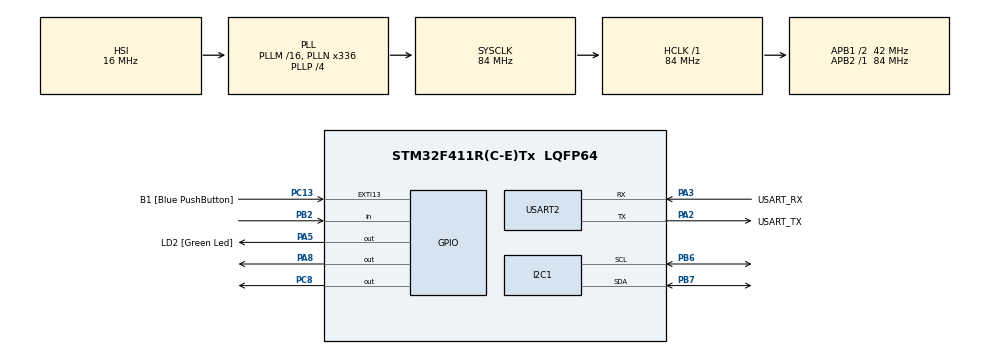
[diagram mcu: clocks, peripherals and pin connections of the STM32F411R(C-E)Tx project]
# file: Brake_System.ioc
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I2C1.I2C_Mode=I2C_Fast
Mcu.Family=STM32F4
Mcu.Name=STM32F411R(C-E)Tx
Mcu.Package=LQFP64
NVIC.PriorityGroup=NVIC_PRIORITYGROUP_0
PA13.GPIO_Label=TMS
PA13.Mode=Serial_Wire
PA13.Signal=SYS_JTMS-SWDIO
PA14.GPIO_Label=TCK
PA14.Mode=Serial_Wire
PA14.Signal=SYS_JTCK-SWCLK
PA2.GPIO_Label=USART_TX
PA2.Mode=Asynchronous
PA2.Signal=USART2_TX
PA3.GPIO_Label=USART_RX
PA3.Mode=Asynchronous
PA3.Signal=USART2_RX
PA5.GPIO_Label=LD2 [Green Led]
PA5.Signal=GPIO_Output
PA8.Signal=GPIO_Output
PB2.Signal=GPIO_Input
PB3.GPIO_Label=SWO
PB3.Signal=SYS_JTDO-SWO
PB6.Mode=I2C
PB6.Signal=I2C1_SCL
PB7.Mode=I2C
PB7.Signal=I2C1_SDA
PC13-ANTI_TAMP.GPIO_Label=B1 [Blue PushButton]
PC13-ANTI_TAMP.GPIO_ModeDefaultEXTI=GPIO_MODE_IT_FALLING
PC13-ANTI_TAMP.Signal=GPXTI13
PC14-OSC32_IN.Mode=LSE-External-Oscillator
PC14-OSC32_IN.Signal=RCC_OSC32_IN
PC15-OSC32_OUT.Mode=LSE-External-Oscillator
PC15-OSC32_OUT.Signal=RCC_OSC32_OUT
PC8.Signal=GPIO_Output
PH0\ -\ OSC_IN.Mode=HSE-External-Clock-Source
PH0\ -\ OSC_IN.Signal=RCC_OSC_IN
PH1\ -\ OSC_OUT.Mode=HSE-External-Clock-Source
PH1\ -\ OSC_OUT.Signal=RCC_OSC_OUT
ProjectManager.HeapSize=0x200
ProjectManager.StackSize=0x400
ProjectManager.TargetToolchain=CMake
RCC.48MHZClocksFreq_Value=84000000
RCC.AHBFreq_Value=84000000
RCC.APB1CLKDivider=RCC_HCLK_DIV2
RCC.APB1Freq_Value=42000000
RCC.APB1TimFreq_Value=84000000
RCC.APB2Freq_Value=84000000
RCC.APB2TimFreq_Value=84000000
RCC.CortexFreq_Value=84000000
RCC.FLatency-AdvancedSettings=FLASH_LATENCY_2
RCC.HCLKFreq_Value=84000000
RCC.HSE_VALUE=8000000
RCC.HSI_VALUE=16000000
RCC.PLLN=336
RCC.PLLP=RCC_PLLP_DIV4
RCC.SYSCLKFreq_VALUE=84000000
RCC.SYSCLKSource=RCC_SYSCLKSOURCE_PLLCLK
RCC.VCOOutputFreq_Value=336000000
TIM1.AutoReloadPreload=TIM_AUTORELOAD_PRELOAD_ENABLE
TIM1.Prescaler=83
USART2.VirtualMode=VM_ASYNC
VP_TIM1_VS_ClockSourceINT.Mode=Internal
board=NUCLEO-F411RE

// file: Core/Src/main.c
/* USER CODE BEGIN Header */
/**
  ******************************************************************************
  * @file           : main.c
  * @brief          : Main program body
  ******************************************************************************
  * @attention
  *
  * Copyright (c) 2026 STMicroelectronics.
  * All rights reserved.
  *
  * This software is licensed under terms that can be found in the LICENSE file
  * in the root directory of this software component.
  * If no LICENSE file comes with this software, it is provided AS-IS.
  *
  ******************************************************************************
  */
/* USER CODE END Header */
#include "main.h"

/* USER CODE BEGIN Includes */
#include <stdio.h>
#include "ssd1306.h"
#include "ssd1306_fonts.h"
#include <stdio.h>
/* USER CODE END Includes */

I2C_HandleTypeDef hi2c1;

TIM_HandleTypeDef htim1;

UART_HandleTypeDef huart2;

/* USER CODE BEGIN PV */
char msg[50];
/* USER CODE END PV */

void SystemClock_Config(void);
static void MX_GPIO_Init(void);
static void MX_I2C1_Init(void);
static void MX_USART2_UART_Init(void);
static void MX_TIM1_Init(void);
/* USER CODE BEGIN PFP */
void delay_us(uint16_t us) {
    __HAL_TIM_SET_COUNTER(&htim1, 0);
    while(__HAL_TIM_GET_COUNTER(&htim1) < us);
}
/* USER CODE END PFP */

/* USER CODE BEGIN 0 */
int lux = 0;
/* USER CODE END 0 */

int main(void)
{

  /* MCU Configuration--------------------------------------------------------*/

  /* Reset of all peripherals, Initializes the Flash interface and the Systick. */
  HAL_Init();

  /* Configure the system clock */
  SystemClock_Config();

  /* Initialize all configured peripherals */
  MX_GPIO_Init();
  MX_I2C1_Init();
  MX_USART2_UART_Init();
  MX_TIM1_Init();
  /* USER CODE BEGIN 2 */
  ssd1306_Init();
  HAL_TIM_Base_Start(&htim1);
  /* USER CODE END 2 */

  /* Infinite loop */
  while (1)
  {

    /* USER CODE BEGIN 3 */
   ssd1306_Fill(Black);

    HAL_GPIO_WritePin(GPIOA, GPIO_PIN_8, 0);
    delay_us(5);
    HAL_GPIO_WritePin(GPIOA, GPIO_PIN_8, 1);
    delay_us(10);
    HAL_GPIO_WritePin(GPIOA, GPIO_PIN_8, 0);
    delay_us(5);

    uint32_t timeout1 = 10000;
    while(HAL_GPIO_ReadPin(GPIOB, GPIO_PIN_2) == 0 && timeout1 > 0) timeout1--;

    uint32_t timeout2 = 5000000;
    while(HAL_GPIO_ReadPin(GPIOB, GPIO_PIN_2) == 1 && timeout2 > 0) timeout2--;

    // Calculate elapsed counts and convert to distance
    uint32_t elapsed = 5000000 - timeout2;
    // Each count = 1us (timer runs at 1MHz)
    // Distance = (time_us * speed_of_sound) / 2
    // Speed of sound = 0.0343 cm/us
    // So: distance_cm = elapsed * 0.01715
    uint32_t distance_cm = (elapsed * 1715) / 100000;
    if(distance_cm <= 10) {
      HAL_GPIO_WritePin(GPIOC, GPIO_PIN_8, 1);
      ssd1306_SetCursor(0, 30);
      ssd1306_WriteString("BRAKE!!!", Font_7x10, White);
    } else if(distance_cm <= 20) {
        HAL_GPIO_WritePin(GPIOC, GPIO_PIN_8, 1);
        HAL_Delay(180);
        HAL_GPIO_WritePin(GPIOC, GPIO_PIN_8, 0);
    } else {
      HAL_GPIO_WritePin(GPIOC, GPIO_PIN_8, 0);
    }

    sprintf(msg, "Dist: %lu cm", distance_cm);
    ssd1306_SetCursor(0, 10);
    ssd1306_WriteString(msg, Font_6x8, White);

    ssd1306_UpdateScreen();
    HAL_Delay(300);

  }
  /* USER CODE END 3 */
}

void SystemClock_Config(void)
{
  RCC_OscInitTypeDef RCC_OscInitStruct = {0};
  RCC_ClkInitTypeDef RCC_ClkInitStruct = {0};

  /** Configure the main internal regulator output voltage
  */
  __HAL_RCC_PWR_CLK_ENABLE();
  __HAL_PWR_VOLTAGESCALING_CONFIG(PWR_REGULATOR_VOLTAGE_SCALE1);

  /** Initializes the RCC Oscillators according to the specified parameters
  * in the RCC_OscInitTypeDef structure.
  */
  RCC_OscInitStruct.OscillatorType = RCC_OSCILLATORTYPE_HSI;
  RCC_OscInitStruct.HSIState = RCC_HSI_ON;
  RCC_OscInitStruct.HSICalibrationValue = RCC_HSICALIBRATION_DEFAULT;
  RCC_OscInitStruct.PLL.PLLState = RCC_PLL_ON;
  RCC_OscInitStruct.PLL.PLLSource = RCC_PLLSOURCE_HSI;
  RCC_OscInitStruct.PLL.PLLM = 16;
  RCC_OscInitStruct.PLL.PLLN = 336;
  RCC_OscInitStruct.PLL.PLLP = RCC_PLLP_DIV4;
  RCC_OscInitStruct.PLL.PLLQ = 4;
  if (HAL_RCC_OscConfig(&RCC_OscInitStruct) != HAL_OK)
  {
    Error_Handler();
  }

  /** Initializes the CPU, AHB and APB buses clocks
  */
  RCC_ClkInitStruct.ClockType = RCC_CLOCKTYPE_HCLK|RCC_CLOCKTYPE_SYSCLK
                              |RCC_CLOCKTYPE_PCLK1|RCC_CLOCKTYPE_PCLK2;
  RCC_ClkInitStruct.SYSCLKSource = RCC_SYSCLKSOURCE_PLLCLK;
  RCC_ClkInitStruct.AHBCLKDivider = RCC_SYSCLK_DIV1;
  RCC_ClkInitStruct.APB1CLKDivider = RCC_HCLK_DIV2;
  RCC_ClkInitStruct.APB2CLKDivider = RCC_HCLK_DIV1;

  if (HAL_RCC_ClockConfig(&RCC_ClkInitStruct, FLASH_LATENCY_2) != HAL_OK)
  {
    Error_Handler();
  }
}

static void MX_I2C1_Init(void)
{

  hi2c1.Instance = I2C1;
  hi2c1.Init.ClockSpeed = 400000;
  hi2c1.Init.DutyCycle = I2C_DUTYCYCLE_2;
  hi2c1.Init.OwnAddress1 = 0;
  hi2c1.Init.AddressingMode = I2C_ADDRESSINGMODE_7BIT;
  hi2c1.Init.DualAddressMode = I2C_DUALADDRESS_DISABLE;
  hi2c1.Init.OwnAddress2 = 0;
  hi2c1.Init.GeneralCallMode = I2C_GENERALCALL_DISABLE;
  hi2c1.Init.NoStretchMode = I2C_NOSTRETCH_DISABLE;
  if (HAL_I2C_Init(&hi2c1) != HAL_OK)
  {
    Error_Handler();
  }

}

static void MX_TIM1_Init(void)
{

  TIM_ClockConfigTypeDef sClockSourceConfig = {0};
  TIM_MasterConfigTypeDef sMasterConfig = {0};

  htim1.Instance = TIM1;
  htim1.Init.Prescaler = 83;
  htim1.Init.CounterMode = TIM_COUNTERMODE_UP;
  htim1.Init.Period = 65535;
  htim1.Init.ClockDivision = TIM_CLOCKDIVISION_DIV1;
  htim1.Init.RepetitionCounter = 0;
  htim1.Init.AutoReloadPreload = TIM_AUTORELOAD_PRELOAD_ENABLE;
  if (HAL_TIM_Base_Init(&htim1) != HAL_OK)
  {
    Error_Handler();
  }
  sClockSourceConfig.ClockSource = TIM_CLOCKSOURCE_INTERNAL;
  if (HAL_TIM_ConfigClockSource(&htim1, &sClockSourceConfig) != HAL_OK)
  {
    Error_Handler();
  }
  sMasterConfig.MasterOutputTrigger = TIM_TRGO_RESET;
  sMasterConfig.MasterSlaveMode = TIM_MASTERSLAVEMODE_DISABLE;
  if (HAL_TIMEx_MasterConfigSynchronization(&htim1, &sMasterConfig) != HAL_OK)
  {
    Error_Handler();
  }

}

static void MX_USART2_UART_Init(void)
{

  huart2.Instance = USART2;
  huart2.Init.BaudRate = 115200;
  huart2.Init.WordLength = UART_WORDLENGTH_8B;
  huart2.Init.StopBits = UART_STOPBITS_1;
  huart2.Init.Parity = UART_PARITY_NONE;
  huart2.Init.Mode = UART_MODE_TX_RX;
  huart2.Init.HwFlowCtl = UART_HWCONTROL_NONE;
  huart2.Init.OverSampling = UART_OVERSAMPLING_16;
  if (HAL_UART_Init(&huart2) != HAL_OK)
  {
    Error_Handler();
  }

}

static void MX_GPIO_Init(void)
{
  GPIO_InitTypeDef GPIO_InitStruct = {0};

  /* GPIO Ports Clock Enable */
  __HAL_RCC_GPIOC_CLK_ENABLE();
  __HAL_RCC_GPIOH_CLK_ENABLE();
  __HAL_RCC_GPIOA_CLK_ENABLE();
  __HAL_RCC_GPIOB_CLK_ENABLE();

  /*Configure GPIO pin Output Level */
  HAL_GPIO_WritePin(GPIOA, LD2_Pin|GPIO_PIN_8, GPIO_PIN_RESET);

  /*Configure GPIO pin Output Level */
  HAL_GPIO_WritePin(GPIOC, GPIO_PIN_8, GPIO_PIN_RESET);

  /*Configure GPIO pin : B1_Pin */
  GPIO_InitStruct.Pin = B1_Pin;
  GPIO_InitStruct.Mode = GPIO_MODE_IT_FALLING;
  GPIO_InitStruct.Pull = GPIO_NOPULL;
  HAL_GPIO_Init(B1_GPIO_Port, &GPIO_InitStruct);

  /*Configure GPIO pins : LD2_Pin PA8 */
  GPIO_InitStruct.Pin = LD2_Pin|GPIO_PIN_8;
  GPIO_InitStruct.Mode = GPIO_MODE_OUTPUT_PP;
  GPIO_InitStruct.Pull = GPIO_NOPULL;
  GPIO_InitStruct.Speed = GPIO_SPEED_FREQ_LOW;
  HAL_GPIO_Init(GPIOA, &GPIO_InitStruct);

  /*Configure GPIO pin : PB2 */
  GPIO_InitStruct.Pin = GPIO_PIN_2;
  GPIO_InitStruct.Mode = GPIO_MODE_INPUT;
  GPIO_InitStruct.Pull = GPIO_NOPULL;
  HAL_GPIO_Init(GPIOB, &GPIO_InitStruct);

  /*Configure GPIO pin : PC8 */
  GPIO_InitStruct.Pin = GPIO_PIN_8;
  GPIO_InitStruct.Mode = GPIO_MODE_OUTPUT_PP;
  GPIO_InitStruct.Pull = GPIO_NOPULL;
  GPIO_InitStruct.Speed = GPIO_SPEED_FREQ_LOW;
  HAL_GPIO_Init(GPIOC, &GPIO_InitStruct);

  /* USER CODE BEGIN MX_GPIO_Init_2 */
  /*Configure GPIO pins : LD2_Pin PA8 */
  GPIO_InitStruct.Pin = GPIO_PIN_8;
  GPIO_InitStruct.Mode = GPIO_MODE_OUTPUT_PP;
  GPIO_InitStruct.Pull = GPIO_NOPULL;
  GPIO_InitStruct.Speed = GPIO_SPEED_FREQ_LOW;
  HAL_GPIO_Init(GPIOA, &GPIO_InitStruct);

  /*Configure GPIO pin : PB2 */
  GPIO_InitStruct.Pin = GPIO_PIN_2;
  GPIO_InitStruct.Mode = GPIO_MODE_INPUT;
  GPIO_InitStruct.Pull = GPIO_NOPULL;
  HAL_GPIO_Init(GPIOB, &GPIO_InitStruct);

  /* USER CODE END MX_GPIO_Init_2 */
}

void Error_Handler(void)
{
  __disable_irq();
  while (1)
  {
  }
}
